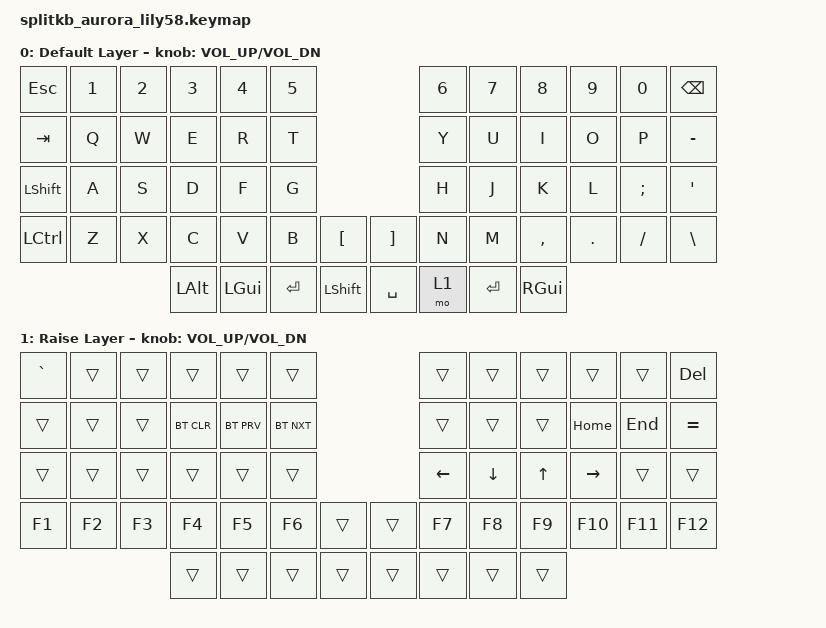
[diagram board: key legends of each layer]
/*
 * Copyright (c) 2022 The ZMK Contributors
 *
 * SPDX-License-Identifier: MIT
 */

#include <behaviors.dtsi>
#include <dt-bindings/zmk/keys.h>
#include <dt-bindings/zmk/bt.h>
#include <dt-bindings/zmk/ext_power.h>

/ {
    keymap {
        compatible = "zmk,keymap";

        default_layer {
            display-name = "Default Layer";
// ------------------------------------------------------------------------------------------------------------
// |  ESC  |  1  |  2  |  3   |  4   |  5   |                   |  6   |  7    |  8    |  9   |   0   |   -   |
// |  TAB  |  Q  |  W  |  E   |  R   |  T   |                   |  Y   |  U    |  I    |  O   |   P   |   =   |
// | SHIFT |  A  |  S  |  D   |  F   |  G   |                   |  H   |  J    |  K    |  L   |   ;   |   '   |
// | CTRL  |  Z  |  X  |  C   |  V   |  B   |   "[" |  |  "]"   |  N   |  M    |  ,    |  .   |   /   |   \   |
//                     | ALT  | GUI  | SPACE | BSPC |  | ENTER | SPACE | RAISE |  GUI  |
            bindings = <
&kp ESC   &kp N1 &kp N2 &kp N3   &kp N4   &kp N5                     &kp N6    &kp N7   &kp N8    &kp N9  &kp N0   &kp BACKSPACE
&kp TAB   &kp Q  &kp W  &kp E    &kp R    &kp T                      &kp Y     &kp U    &kp I     &kp O   &kp P    &kp MINUS
&kp LSHFT &kp A  &kp S  &kp D    &kp F    &kp G                      &kp H     &kp J    &kp K     &kp L   &kp SEMI &kp SQT
&kp LCTRL &kp Z  &kp X  &kp C    &kp V    &kp B  &kp LBKT   &kp RBKT &kp N     &kp M    &kp COMMA &kp DOT &kp FSLH &kp BSLH
                        &kp LALT &kp LGUI &kp ENTER &kp LSHIFT  &kp SPACE &mo 1  &kp ENTER  &kp RGUI
            >;

            sensor-bindings = <&inc_dec_kp C_VOL_UP C_VOL_DN>;
        };

        raise_layer {
            display-name = "Raise Layer";
// ------------------------------------------------------------------------------------------------------------
// |   F1  |  F2 |  F3 |  F4  |  F5  |  F6  |                   |  F7  |  F8   |  F9   |  F10 |  F11  |  F12  |
// |       |     |     |      |      |      |                   |      |       |       | HOME |  END  |   `   |
// |       |     |     |      |      |      |                   |  <-  |   v   |   ^   |  ->  |       |       |
// |       |     |     |      |      |      |        |  |       |      |       |       |      |       |       |
//                     |      |      |      |   DEL  |  |       |      |       |       |
            bindings = <
&kp GRAVE &trans &trans &trans  &trans  &trans                       &trans      &trans    &trans    &trans   &trans    &kp DEL
&trans    &trans &trans &bt BT_CLR  &bt BT_PRV  &bt BT_NXT          &trans      &trans    &trans    &kp HOME &kp END   &kp EQUAL
&trans    &trans &trans &trans  &trans  &trans                       &kp LEFT    &kp DOWN  &kp UP    &kp RIGHT &trans   &trans
&kp F1    &kp F2 &kp F3 &kp F4  &kp F5  &kp F6    &trans   &trans    &kp F7      &kp F8    &kp F9    &kp F10  &kp F11   &kp F12
                        &trans  &trans  &trans    &trans   &trans    &trans      &trans    &trans
            >;

            sensor-bindings = <&inc_dec_kp C_VOL_UP C_VOL_DN>;
        };
    };
};
